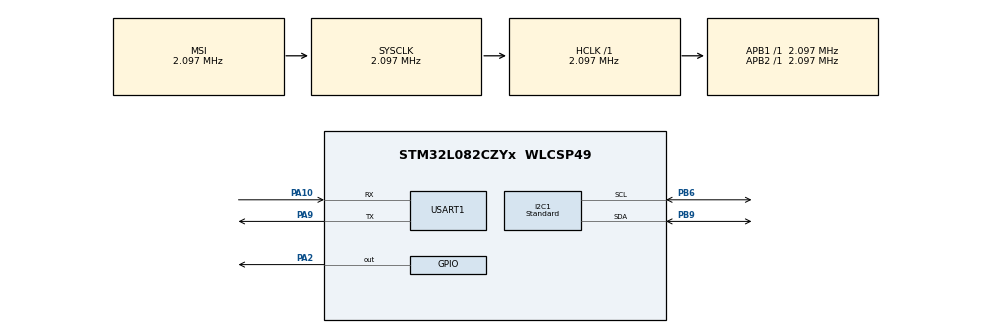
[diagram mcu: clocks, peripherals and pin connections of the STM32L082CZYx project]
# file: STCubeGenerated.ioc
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I2C1.I2C_Speed_Mode=I2C_Standard
I2C1.Timing=0x00000708
Mcu.Family=STM32L0
Mcu.Name=STM32L082CZYx
Mcu.Package=WLCSP49
PA10.Mode=Asynchronous
PA10.Signal=USART1_RX
PA2.Signal=GPIO_Output
PA9.Mode=Asynchronous
PA9.Signal=USART1_TX
PB6.Mode=I2C
PB6.Signal=I2C1_SCL
PB9.Mode=I2C
PB9.Signal=I2C1_SDA
ProjectManager.HeapSize=0x200
ProjectManager.StackSize=0x400
ProjectManager.TargetToolchain=MDK-ARM V5
RCC.AHBFreq_Value=2097000
RCC.APB1Freq_Value=2097000
RCC.APB1TimFreq_Value=2097000
RCC.APB2Freq_Value=2097000
RCC.APB2TimFreq_Value=2097000
RCC.HSE_VALUE=8000000
RCC.HSI16_VALUE=16000000
RCC.HSI48_VALUE=48000000
RCC.HSI_VALUE=16000000
RCC.LSE_VALUE=32768
RCC.MSI_VALUE=2097000
RCC.SYSCLKFreq_VALUE=2097000
RCC.VCOOutputFreq_Value=48000000
USART1.VirtualMode-Asynchronous=VM_ASYNC
board=custom

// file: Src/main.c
/* USER CODE BEGIN Header */
/**
  ******************************************************************************
  * @file           : main.c
  * @brief          : Main program body
  ******************************************************************************
  * @attention
  *
  * <h2><center>&copy; Copyright (c) 2019 STMicroelectronics.
  * All rights reserved.</center></h2>
  *
  * This software component is licensed by ST under BSD 3-Clause license,
  * the "License"; You may not use this file except in compliance with the
  * License. You may obtain a copy of the License at:
  *                        opensource.org/licenses/BSD-3-Clause
  *
  ******************************************************************************
  */
/* USER CODE END Header */

#include "main.h"

/* USER CODE BEGIN Includes */
#include <string.h>
//include <stdio.h>
#include "ms5607.h"

/* USER CODE END Includes */

/* USER CODE BEGIN PD */

#define UBLOX_ADDRESS     0x42

uint8_t data;
//uint8_t device_address = UBLOX_ADDRESS;
static const uint8_t device_address = 0x42 << 1; // Use 8-bit address

/* USER CODE END PD */

I2C_HandleTypeDef hi2c1;

UART_HandleTypeDef huart1;

/* USER CODE BEGIN PV */

int fputc(int ch, FILE *f){  HAL_UART_Transmit(&huart1, (uint8_t *)&ch, 1, 0xFFFF);  return ch;}

/* USER CODE END PV */

void SystemClock_Config(void);
static void MX_GPIO_Init(void);
static void MX_I2C1_Init(void);
static void MX_USART1_UART_Init(void);

/* USER CODE BEGIN 0 */

/**
  * Override default HAL_GetTick function
  */
uint32_t HAL_GetTick (void) {
  static uint32_t ticks = 0U;
         uint32_t i;

  /* If Kernel is not running wait approximately 1 ms then increment
     and return auxiliary tick counter value */
  for (i = (SystemCoreClock >> 14U); i > 0U; i--) {
    __NOP(); __NOP(); __NOP(); __NOP(); __NOP(); __NOP();
    __NOP(); __NOP(); __NOP(); __NOP(); __NOP(); __NOP();
  }
  return ++ticks;
}

/* USER CODE END 0 */

int main(void)
{

  /* MCU Configuration--------------------------------------------------------*/

  /* Reset of all peripherals, Initializes the Flash interface and the Systick. */
  HAL_Init();

  /* Configure the system clock */
  SystemClock_Config();

  /* USER CODE BEGIN SysInit */
    //stdin_init();                             /* Initialize printf output      */

  /* USER CODE END SysInit */

  /* Initialize all configured peripherals */
  MX_GPIO_Init();
  MX_I2C1_Init();
  MX_USART1_UART_Init();
  /* USER CODE BEGIN 2 */

	char uart2Data[24] = "Connected to UART One\r\n";
	/*
	* Output to uart2
	* use screen or putty or whatever terminal software
	* 8N1 115200
	*/
	HAL_UART_Transmit(&huart1, (uint8_t *)&uart2Data,sizeof(uart2Data), HAL_MAX_DELAY);

	printf("\r\n");

	printf("Scanning I2C bus:\r\n");
	DO_I2C_SCAN();

  /* USER CODE END 2 */

  /* Infinite loop */
  /* USER CODE BEGIN WHILE */
	while(1)
	{

		//printf("\r\n");
		//HAL_GPIO_TogglePin(GPIOA, GPIO_PIN_2);

		/* Receieve data in the register */
		while(HAL_I2C_Master_Receive(&hi2c1, device_address, (uint8_t *)&data, 1,HAL_MAX_DELAY) != HAL_OK) {

		/* Error_Handler() function is called when Timeout error occurs.
				 When Acknowledge failure occurs (Slave don't acknowledge it's address)
				 Master restarts communication */
			if (HAL_I2C_GetError(&hi2c1) != HAL_I2C_ERROR_AF)
			{
				Error_Handler();
			}
		}
		if (data!=255)
		{
			/* Send the data to serial buffer */
			HAL_UART_Transmit(&huart1, (uint8_t *)&data,1,HAL_MAX_DELAY);
		}

		//HAL_Delay(100);

    /* USER CODE END WHILE */

	}
}

void SystemClock_Config(void)
{
  RCC_OscInitTypeDef RCC_OscInitStruct = {0};
  RCC_ClkInitTypeDef RCC_ClkInitStruct = {0};
  RCC_PeriphCLKInitTypeDef PeriphClkInit = {0};

  /** Configure the main internal regulator output voltage
  */
  __HAL_PWR_VOLTAGESCALING_CONFIG(PWR_REGULATOR_VOLTAGE_SCALE1);
  /** Initializes the CPU, AHB and APB busses clocks
  */
  RCC_OscInitStruct.OscillatorType = RCC_OSCILLATORTYPE_MSI;
  RCC_OscInitStruct.MSIState = RCC_MSI_ON;
  RCC_OscInitStruct.MSICalibrationValue = 0;
  RCC_OscInitStruct.MSIClockRange = RCC_MSIRANGE_5;
  RCC_OscInitStruct.PLL.PLLState = RCC_PLL_NONE;
  if (HAL_RCC_OscConfig(&RCC_OscInitStruct) != HAL_OK)
  {
    Error_Handler();
  }
  /** Initializes the CPU, AHB and APB busses clocks
  */
  RCC_ClkInitStruct.ClockType = RCC_CLOCKTYPE_HCLK|RCC_CLOCKTYPE_SYSCLK
                              |RCC_CLOCKTYPE_PCLK1|RCC_CLOCKTYPE_PCLK2;
  RCC_ClkInitStruct.SYSCLKSource = RCC_SYSCLKSOURCE_MSI;
  RCC_ClkInitStruct.AHBCLKDivider = RCC_SYSCLK_DIV1;
  RCC_ClkInitStruct.APB1CLKDivider = RCC_HCLK_DIV1;
  RCC_ClkInitStruct.APB2CLKDivider = RCC_HCLK_DIV1;

  if (HAL_RCC_ClockConfig(&RCC_ClkInitStruct, FLASH_LATENCY_0) != HAL_OK)
  {
    Error_Handler();
  }
  PeriphClkInit.PeriphClockSelection = RCC_PERIPHCLK_USART1|RCC_PERIPHCLK_I2C1;
  PeriphClkInit.Usart1ClockSelection = RCC_USART1CLKSOURCE_PCLK2;
  PeriphClkInit.I2c1ClockSelection = RCC_I2C1CLKSOURCE_PCLK1;
  if (HAL_RCCEx_PeriphCLKConfig(&PeriphClkInit) != HAL_OK)
  {
    Error_Handler();
  }
}

static void MX_I2C1_Init(void)
{

  hi2c1.Instance = I2C1;
  hi2c1.Init.Timing = 0x00000708;
  hi2c1.Init.OwnAddress1 = 0;
  hi2c1.Init.AddressingMode = I2C_ADDRESSINGMODE_7BIT;
  hi2c1.Init.DualAddressMode = I2C_DUALADDRESS_DISABLE;
  hi2c1.Init.OwnAddress2 = 0;
  hi2c1.Init.OwnAddress2Masks = I2C_OA2_NOMASK;
  hi2c1.Init.GeneralCallMode = I2C_GENERALCALL_DISABLE;
  hi2c1.Init.NoStretchMode = I2C_NOSTRETCH_DISABLE;
  if (HAL_I2C_Init(&hi2c1) != HAL_OK)
  {
    Error_Handler();
  }
  /** Configure Analogue filter
  */
  if (HAL_I2CEx_ConfigAnalogFilter(&hi2c1, I2C_ANALOGFILTER_ENABLE) != HAL_OK)
  {
    Error_Handler();
  }
  /** Configure Digital filter
  */
  if (HAL_I2CEx_ConfigDigitalFilter(&hi2c1, 0) != HAL_OK)
  {
    Error_Handler();
  }

}

static void MX_USART1_UART_Init(void)
{

  huart1.Instance = USART1;
  huart1.Init.BaudRate = 115200;
  huart1.Init.WordLength = UART_WORDLENGTH_8B;
  huart1.Init.StopBits = UART_STOPBITS_1;
  huart1.Init.Parity = UART_PARITY_NONE;
  huart1.Init.Mode = UART_MODE_TX_RX;
  huart1.Init.HwFlowCtl = UART_HWCONTROL_NONE;
  huart1.Init.OverSampling = UART_OVERSAMPLING_16;
  huart1.Init.OneBitSampling = UART_ONE_BIT_SAMPLE_DISABLE;
  huart1.AdvancedInit.AdvFeatureInit = UART_ADVFEATURE_NO_INIT;
  if (HAL_UART_Init(&huart1) != HAL_OK)
  {
    Error_Handler();
  }

}

static void MX_GPIO_Init(void)
{
  GPIO_InitTypeDef GPIO_InitStruct = {0};

  /* GPIO Ports Clock Enable */
  __HAL_RCC_GPIOB_CLK_ENABLE();
  __HAL_RCC_GPIOA_CLK_ENABLE();

  /*Configure GPIO pin Output Level */
  HAL_GPIO_WritePin(GPIOA, GPIO_PIN_2, GPIO_PIN_RESET);

  /*Configure GPIO pin : PA2 */
  GPIO_InitStruct.Pin = GPIO_PIN_2;
  GPIO_InitStruct.Mode = GPIO_MODE_OUTPUT_PP;
  GPIO_InitStruct.Pull = GPIO_NOPULL;
  GPIO_InitStruct.Speed = GPIO_SPEED_FREQ_LOW;
  HAL_GPIO_Init(GPIOA, &GPIO_InitStruct);

}

/* USER CODE BEGIN 4 */

static void DO_I2C_SCAN(void)
{
	HAL_StatusTypeDef result;
	uint8_t i;

	for (i=1; i<128; i++)
	{
		/*
		 * the HAL wants a left aligned i2c address
		 * &hi2c1 is the handle
		 * (uint16_t)(i<<1) is the i2c address left aligned
		 * retries 2
		 * timeout 2
		 */
		result = HAL_I2C_IsDeviceReady(&hi2c1, (uint16_t)(i<<1), 20, 20);
		if (result != HAL_OK) // HAL_ERROR or HAL_BUSY or HAL_TIMEOUT
		{
				printf("."); // No ACK received at that address
		}
		if (result == HAL_OK)
		{
				printf("0x%X", i); // Received an ACK at that address
		}
	}
}

/* USER CODE END 4 */

void Error_Handler(void)
{
}

/************************ (C) COPYRIGHT STMicroelectronics *****END OF FILE****/
